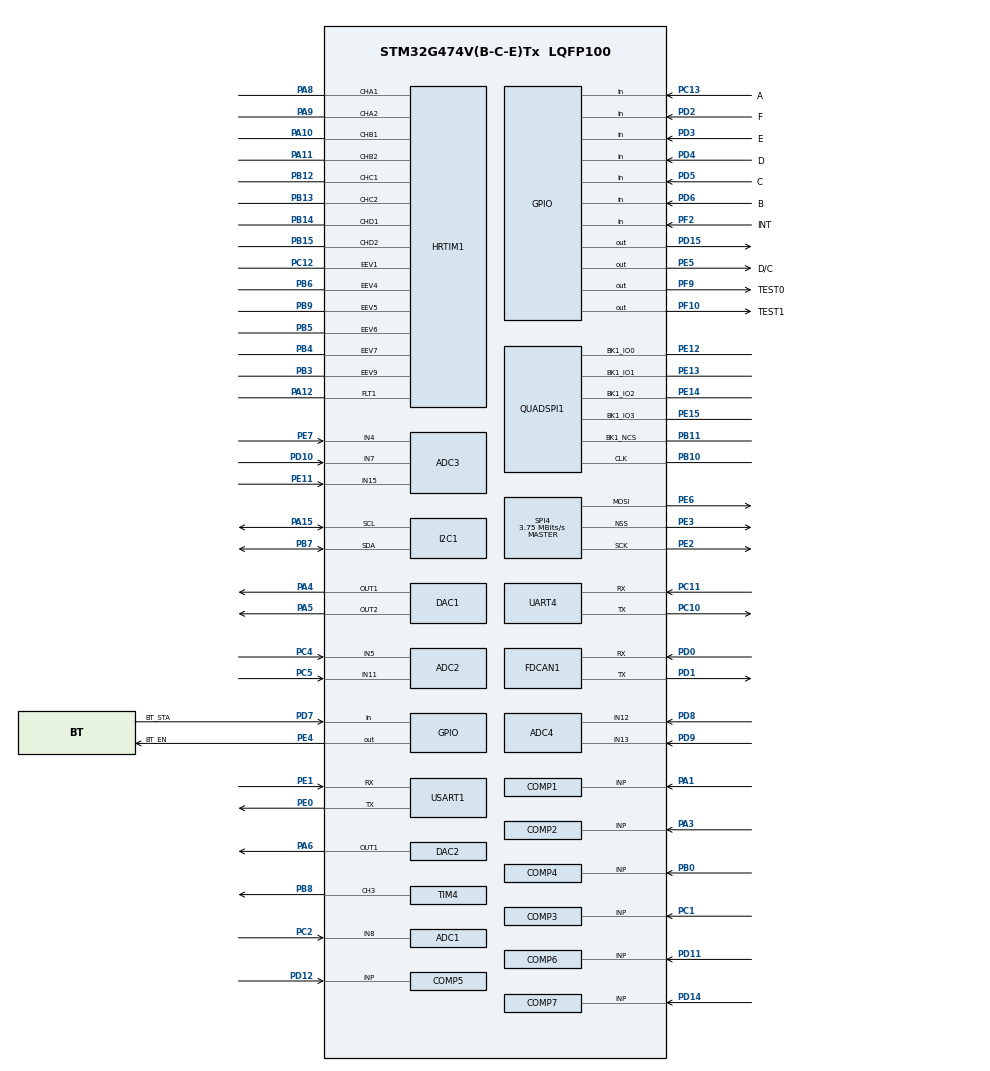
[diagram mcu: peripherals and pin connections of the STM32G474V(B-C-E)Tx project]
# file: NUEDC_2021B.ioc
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ADC1.Channel-0\#ChannelRegularConversion=ADC_CHANNEL_8
ADC1.Channel-1\#ChannelRegularConversion=ADC_CHANNEL_7
ADC1.ClockPrescaler=ADC_CLOCK_ASYNC_DIV2
ADC1.DMAContinuousRequests=ENABLE
ADC1.ExternalTrigConv=ADC_EXTERNALTRIG_HRTIM_TRG1
ADC1.NbrOfConversion=2
ADC1.NbrOfConversionFlag=1
ADC1.OffsetNumber-0\#ChannelRegularConversion=ADC_OFFSET_NONE
ADC1.OffsetNumber-1\#ChannelRegularConversion=ADC_OFFSET_NONE
ADC1.Rank-0\#ChannelRegularConversion=1
ADC1.Rank-1\#ChannelRegularConversion=2
ADC1.SamplingTime-0\#ChannelRegularConversion=ADC_SAMPLETIME_12CYCLES_5
ADC1.SamplingTime-1\#ChannelRegularConversion=ADC_SAMPLETIME_12CYCLES_5
ADC1.master=1
ADC2.Channel-0\#ChannelRegularConversion=ADC_CHANNEL_2
ADC2.Channel-1\#ChannelRegularConversion=ADC_CHANNEL_11
ADC2.Channel-2\#ChannelRegularConversion=ADC_CHANNEL_5
ADC2.ClockPrescaler=ADC_CLOCK_ASYNC_DIV2
ADC2.DMAContinuousRequests=ENABLE
ADC2.ExternalTrigConv=ADC_EXTERNALTRIG_HRTIM_TRG5
ADC2.NbrOfConversion=3
ADC2.NbrOfConversionFlag=1
ADC2.OffsetNumber-0\#ChannelRegularConversion=ADC_OFFSET_NONE
ADC2.OffsetNumber-1\#ChannelRegularConversion=ADC_OFFSET_NONE
ADC2.OffsetNumber-2\#ChannelRegularConversion=ADC_OFFSET_NONE
ADC2.Rank-0\#ChannelRegularConversion=1
ADC2.Rank-1\#ChannelRegularConversion=2
ADC2.Rank-2\#ChannelRegularConversion=3
ADC2.SamplingTime-0\#ChannelRegularConversion=ADC_SAMPLETIME_12CYCLES_5
ADC2.SamplingTime-1\#ChannelRegularConversion=ADC_SAMPLETIME_12CYCLES_5
ADC2.SamplingTime-2\#ChannelRegularConversion=ADC_SAMPLETIME_12CYCLES_5
ADC3.AWD1HighThreshold=4095
ADC3.AWD1ITMode=ENABLE
ADC3.Channel-0\#ChannelRegularConversion=ADC_CHANNEL_7
ADC3.Channel-1\#ChannelRegularConversion=ADC_CHANNEL_15
ADC3.Channel-2\#ChannelRegularConversion=ADC_CHANNEL_4
ADC3.ClockPrescaler=ADC_CLOCK_ASYNC_DIV2
ADC3.DMAContinuousRequests=ENABLE
ADC3.EnableAnalogWatchDog1=true
ADC3.EnableAnalogWatchDog2=false
ADC3.EnableAnalogWatchDog3=false
ADC3.ExternalTrigConv=ADC_EXTERNALTRIG_HRTIM_TRG3
ADC3.NbrOfConversion=3
ADC3.NbrOfConversionFlag=1
ADC3.OffsetNumber-0\#ChannelRegularConversion=ADC_OFFSET_NONE
ADC3.OffsetNumber-1\#ChannelRegularConversion=ADC_OFFSET_NONE
ADC3.OffsetNumber-2\#ChannelRegularConversion=ADC_OFFSET_NONE
ADC3.Rank-0\#ChannelRegularConversion=1
ADC3.Rank-1\#ChannelRegularConversion=2
ADC3.Rank-2\#ChannelRegularConversion=3
ADC3.SamplingTime-0\#ChannelRegularConversion=ADC_SAMPLETIME_12CYCLES_5
ADC3.SamplingTime-1\#ChannelRegularConversion=ADC_SAMPLETIME_12CYCLES_5
ADC3.SamplingTime-2\#ChannelRegularConversion=ADC_SAMPLETIME_12CYCLES_5
ADC3.WatchdogChannel=ADC_CHANNEL_4
ADC3.master=1
ADC4.Channel-0\#ChannelRegularConversion=ADC_CHANNEL_13
ADC4.Channel-1\#ChannelRegularConversion=ADC_CHANNEL_12
ADC4.ClockPrescaler=ADC_CLOCK_ASYNC_DIV2
ADC4.DMAContinuousRequests=ENABLE
ADC4.ExternalTrigConv=ADC_EXTERNALTRIG_HRTIM_TRG4
ADC4.NbrOfConversion=2
ADC4.NbrOfConversionFlag=1
ADC4.OffsetNumber-0\#ChannelRegularConversion=ADC_OFFSET_NONE
ADC4.OffsetNumber-1\#ChannelRegularConversion=ADC_OFFSET_NONE
ADC4.Rank-0\#ChannelRegularConversion=1
ADC4.Rank-1\#ChannelRegularConversion=2
ADC4.SamplingTime-0\#ChannelRegularConversion=ADC_SAMPLETIME_12CYCLES_5
ADC4.SamplingTime-1\#ChannelRegularConversion=ADC_SAMPLETIME_12CYCLES_5
ADC5.Channel-0\#ChannelRegularConversion=ADC_CHANNEL_TEMPSENSOR_ADC5
ADC5.Channel-1\#ChannelRegularConversion=ADC_CHANNEL_VBAT
ADC5.Channel-2\#ChannelRegularConversion=ADC_CHANNEL_VREFINT
ADC5.ClockPrescaler=ADC_CLOCK_ASYNC_DIV2
ADC5.NbrOfConversion=3
ADC5.NbrOfConversionFlag=1
ADC5.OffsetNumber-0\#ChannelRegularConversion=ADC_OFFSET_NONE
ADC5.OffsetNumber-1\#ChannelRegularConversion=ADC_OFFSET_NONE
ADC5.OffsetNumber-2\#ChannelRegularConversion=ADC_OFFSET_NONE
ADC5.Rank-0\#ChannelRegularConversion=1
ADC5.Rank-1\#ChannelRegularConversion=2
ADC5.Rank-2\#ChannelRegularConversion=3
ADC5.SamplingTime-0\#ChannelRegularConversion=ADC_SAMPLETIME_92CYCLES_5
ADC5.SamplingTime-1\#ChannelRegularConversion=ADC_SAMPLETIME_47CYCLES_5
ADC5.SamplingTime-2\#ChannelRegularConversion=ADC_SAMPLETIME_47CYCLES_5
DAC1.DAC_Channel-DAC_OUT2=DAC_CHANNEL_2
DAC3.DAC_Channel-DAC_OUT2_Int=DAC_CHANNEL_2
DAC4.DAC_Channel-DAC_OUT2_Int=DAC_CHANNEL_2
Dma.ADC1.9.Direction=DMA_PERIPH_TO_MEMORY
Dma.ADC1.9.EventEnable=DISABLE
Dma.ADC1.9.Instance=DMA2_Channel1
Dma.ADC1.9.MemDataAlignment=DMA_MDATAALIGN_HALFWORD
Dma.ADC1.9.MemInc=DMA_MINC_ENABLE
Dma.ADC1.9.Mode=DMA_CIRCULAR
Dma.ADC1.9.PeriphDataAlignment=DMA_PDATAALIGN_HALFWORD
Dma.ADC1.9.PeriphInc=DMA_PINC_DISABLE
Dma.ADC1.9.Polarity=HAL_DMAMUX_REQ_GEN_RISING
Dma.ADC1.9.Priority=DMA_PRIORITY_VERY_HIGH
Dma.ADC1.9.RequestNumber=1
Dma.ADC1.9.SignalID=NONE
Dma.ADC1.9.SyncEnable=DISABLE
Dma.ADC1.9.SyncPolarity=HAL_DMAMUX_SYNC_NO_EVENT
Dma.ADC1.9.SyncRequestNumber=1
Dma.ADC1.9.SyncSignalID=NONE
Dma.ADC2.8.Direction=DMA_PERIPH_TO_MEMORY
Dma.ADC2.8.EventEnable=DISABLE
Dma.ADC2.8.Instance=DMA2_Channel2
Dma.ADC2.8.MemDataAlignment=DMA_MDATAALIGN_HALFWORD
Dma.ADC2.8.MemInc=DMA_MINC_ENABLE
Dma.ADC2.8.Mode=DMA_CIRCULAR
Dma.ADC2.8.PeriphDataAlignment=DMA_PDATAALIGN_HALFWORD
Dma.ADC2.8.PeriphInc=DMA_PINC_DISABLE
Dma.ADC2.8.Polarity=HAL_DMAMUX_REQ_GEN_RISING
Dma.ADC2.8.Priority=DMA_PRIORITY_VERY_HIGH
Dma.ADC2.8.RequestNumber=1
Dma.ADC2.8.SignalID=NONE
Dma.ADC2.8.SyncEnable=DISABLE
Dma.ADC2.8.SyncPolarity=HAL_DMAMUX_SYNC_NO_EVENT
Dma.ADC2.8.SyncRequestNumber=1
Dma.ADC2.8.SyncSignalID=NONE
Dma.ADC3.7.Direction=DMA_PERIPH_TO_MEMORY
Dma.ADC3.7.EventEnable=DISABLE
Dma.ADC3.7.Instance=DMA2_Channel3
Dma.ADC3.7.MemDataAlignment=DMA_MDATAALIGN_HALFWORD
Dma.ADC3.7.MemInc=DMA_MINC_ENABLE
Dma.ADC3.7.Mode=DMA_CIRCULAR
Dma.ADC3.7.PeriphDataAlignment=DMA_PDATAALIGN_HALFWORD
Dma.ADC3.7.PeriphInc=DMA_PINC_DISABLE
Dma.ADC3.7.Polarity=HAL_DMAMUX_REQ_GEN_RISING
Dma.ADC3.7.Priority=DMA_PRIORITY_VERY_HIGH
Dma.ADC3.7.RequestNumber=1
Dma.ADC3.7.SignalID=NONE
Dma.ADC3.7.SyncEnable=DISABLE
Dma.ADC3.7.SyncPolarity=HAL_DMAMUX_SYNC_NO_EVENT
Dma.ADC3.7.SyncRequestNumber=1
Dma.ADC3.7.SyncSignalID=NONE
Dma.ADC4.6.Direction=DMA_PERIPH_TO_MEMORY
Dma.ADC4.6.EventEnable=DISABLE
Dma.ADC4.6.Instance=DMA1_Channel6
Dma.ADC4.6.MemDataAlignment=DMA_MDATAALIGN_HALFWORD
Dma.ADC4.6.MemInc=DMA_MINC_ENABLE
Dma.ADC4.6.Mode=DMA_CIRCULAR
Dma.ADC4.6.PeriphDataAlignment=DMA_PDATAALIGN_HALFWORD
Dma.ADC4.6.PeriphInc=DMA_PINC_DISABLE
Dma.ADC4.6.Polarity=HAL_DMAMUX_REQ_GEN_RISING
Dma.ADC4.6.Priority=DMA_PRIORITY_VERY_HIGH
Dma.ADC4.6.RequestNumber=1
Dma.ADC4.6.SignalID=NONE
Dma.ADC4.6.SyncEnable=DISABLE
Dma.ADC4.6.SyncPolarity=HAL_DMAMUX_SYNC_NO_EVENT
Dma.ADC4.6.SyncRequestNumber=1
Dma.ADC4.6.SyncSignalID=NONE
Dma.ADC5.5.Direction=DMA_PERIPH_TO_MEMORY
Dma.ADC5.5.EventEnable=DISABLE
Dma.ADC5.5.Instance=DMA1_Channel7
Dma.ADC5.5.MemDataAlignment=DMA_MDATAALIGN_HALFWORD
Dma.ADC5.5.MemInc=DMA_MINC_ENABLE
Dma.ADC5.5.Mode=DMA_CIRCULAR
Dma.ADC5.5.PeriphDataAlignment=DMA_PDATAALIGN_HALFWORD
Dma.ADC5.5.PeriphInc=DMA_PINC_DISABLE
Dma.ADC5.5.Polarity=HAL_DMAMUX_REQ_GEN_RISING
Dma.ADC5.5.Priority=DMA_PRIORITY_LOW
Dma.ADC5.5.RequestNumber=1
Dma.ADC5.5.SignalID=NONE
Dma.ADC5.5.SyncEnable=DISABLE
Dma.ADC5.5.SyncPolarity=HAL_DMAMUX_SYNC_NO_EVENT
Dma.ADC5.5.SyncRequestNumber=1
Dma.ADC5.5.SyncSignalID=NONE
Dma.Request0=SPI4_TX
Dma.Request1=USART1_TX
Dma.Request2=USART1_RX
Dma.Request3=UART4_TX
Dma.Request4=UART4_RX
Dma.Request5=ADC5
Dma.Request6=ADC4
Dma.Request7=ADC3
Dma.Request8=ADC2
Dma.Request9=ADC1
Dma.SPI4_TX.0.Direction=DMA_MEMORY_TO_PERIPH
Dma.SPI4_TX.0.EventEnable=DISABLE
Dma.SPI4_TX.0.Instance=DMA1_Channel1
Dma.SPI4_TX.0.MemDataAlignment=DMA_MDATAALIGN_BYTE
Dma.SPI4_TX.0.MemInc=DMA_MINC_ENABLE
Dma.SPI4_TX.0.Mode=DMA_NORMAL
Dma.SPI4_TX.0.PeriphDataAlignment=DMA_PDATAALIGN_BYTE
Dma.SPI4_TX.0.PeriphInc=DMA_PINC_DISABLE
Dma.SPI4_TX.0.Polarity=HAL_DMAMUX_REQ_GEN_RISING
Dma.SPI4_TX.0.Priority=DMA_PRIORITY_LOW
Dma.SPI4_TX.0.RequestNumber=1
Dma.SPI4_TX.0.SignalID=NONE
Dma.SPI4_TX.0.SyncEnable=DISABLE
Dma.SPI4_TX.0.SyncPolarity=HAL_DMAMUX_SYNC_NO_EVENT
Dma.SPI4_TX.0.SyncRequestNumber=1
Dma.SPI4_TX.0.SyncSignalID=NONE
Dma.UART4_RX.4.Direction=DMA_PERIPH_TO_MEMORY
Dma.UART4_RX.4.EventEnable=DISABLE
Dma.UART4_RX.4.Instance=DMA1_Channel5
Dma.UART4_RX.4.MemDataAlignment=DMA_MDATAALIGN_BYTE
Dma.UART4_RX.4.MemInc=DMA_MINC_ENABLE
Dma.UART4_RX.4.Mode=DMA_CIRCULAR
Dma.UART4_RX.4.PeriphDataAlignment=DMA_PDATAALIGN_BYTE
Dma.UART4_RX.4.PeriphInc=DMA_PINC_DISABLE
Dma.UART4_RX.4.Polarity=HAL_DMAMUX_REQ_GEN_RISING
Dma.UART4_RX.4.Priority=DMA_PRIORITY_LOW
Dma.UART4_RX.4.RequestNumber=1
Dma.UART4_RX.4.SignalID=NONE
Dma.UART4_RX.4.SyncEnable=DISABLE
Dma.UART4_RX.4.SyncPolarity=HAL_DMAMUX_SYNC_NO_EVENT
Dma.UART4_RX.4.SyncRequestNumber=1
Dma.UART4_RX.4.SyncSignalID=NONE
Dma.UART4_TX.3.Direction=DMA_MEMORY_TO_PERIPH
Dma.UART4_TX.3.EventEnable=DISABLE
Dma.UART4_TX.3.Instance=DMA1_Channel4
Dma.UART4_TX.3.MemDataAlignment=DMA_MDATAALIGN_BYTE
Dma.UART4_TX.3.MemInc=DMA_MINC_ENABLE
Dma.UART4_TX.3.Mode=DMA_NORMAL
Dma.UART4_TX.3.PeriphDataAlignment=DMA_PDATAALIGN_BYTE
Dma.UART4_TX.3.PeriphInc=DMA_PINC_DISABLE
Dma.UART4_TX.3.Polarity=HAL_DMAMUX_REQ_GEN_RISING
Dma.UART4_TX.3.Priority=DMA_PRIORITY_LOW
Dma.UART4_TX.3.RequestNumber=1
Dma.UART4_TX.3.SignalID=NONE
Dma.UART4_TX.3.SyncEnable=DISABLE
Dma.UART4_TX.3.SyncPolarity=HAL_DMAMUX_SYNC_NO_EVENT
Dma.UART4_TX.3.SyncRequestNumber=1
Dma.UART4_TX.3.SyncSignalID=NONE
Dma.USART1_RX.2.Direction=DMA_PERIPH_TO_MEMORY
Dma.USART1_RX.2.EventEnable=DISABLE
Dma.USART1_RX.2.Instance=DMA1_Channel3
Dma.USART1_RX.2.MemDataAlignment=DMA_MDATAALIGN_BYTE
Dma.USART1_RX.2.MemInc=DMA_MINC_ENABLE
Dma.USART1_RX.2.Mode=DMA_CIRCULAR
Dma.USART1_RX.2.PeriphDataAlignment=DMA_PDATAALIGN_BYTE
Dma.USART1_RX.2.PeriphInc=DMA_PINC_DISABLE
Dma.USART1_RX.2.Polarity=HAL_DMAMUX_REQ_GEN_RISING
Dma.USART1_RX.2.Priority=DMA_PRIORITY_LOW
Dma.USART1_RX.2.RequestNumber=1
Dma.USART1_RX.2.SignalID=NONE
Dma.USART1_RX.2.SyncEnable=DISABLE
Dma.USART1_RX.2.SyncPolarity=HAL_DMAMUX_SYNC_NO_EVENT
Dma.USART1_RX.2.SyncRequestNumber=1
Dma.USART1_RX.2.SyncSignalID=NONE
Dma.USART1_TX.1.Direction=DMA_MEMORY_TO_PERIPH
Dma.USART1_TX.1.EventEnable=DISABLE
Dma.USART1_TX.1.Instance=DMA1_Channel2
Dma.USART1_TX.1.MemDataAlignment=DMA_MDATAALIGN_BYTE
Dma.USART1_TX.1.MemInc=DMA_MINC_ENABLE
Dma.USART1_TX.1.Mode=DMA_NORMAL
Dma.USART1_TX.1.PeriphDataAlignment=DMA_PDATAALIGN_BYTE
Dma.USART1_TX.1.PeriphInc=DMA_PINC_DISABLE
Dma.USART1_TX.1.Polarity=HAL_DMAMUX_REQ_GEN_RISING
Dma.USART1_TX.1.Priority=DMA_PRIORITY_LOW
Dma.USART1_TX.1.RequestNumber=1
Dma.USART1_TX.1.SignalID=NONE
Dma.USART1_TX.1.SyncEnable=DISABLE
Dma.USART1_TX.1.SyncPolarity=HAL_DMAMUX_SYNC_NO_EVENT
Dma.USART1_TX.1.SyncRequestNumber=1
Dma.USART1_TX.1.SyncSignalID=NONE
FDCAN1.CalculateBaudRateNominal=1250000
FDCAN1.CalculateTimeBitNominal=800
FDCAN1.CalculateTimeQuantumNominal=266.6666666666667
FREERTOS.HEAP_NUMBER=1
FREERTOS.Mutexes01=mutex_gspi_,Static,mutex_gspi_handleControlBlock,Available;mutex_i2c_,Static,mutex_i2c_ControlBlock,Available
FREERTOS.Queues01=Beep_Queue,1,uint8_t,0,Static,Beep_QueueBuffer,Beep_QueueControlBlock;Button_Queue,16,uint16_t,0,Static,Button_QueueBuffer,Button_QueueControlBlock;Notification_Queue,16,const char*,0,Static,Notification_QueueBuffer,Notification_QueueControlBlock
FREERTOS.Tasks01=powerdown_Task,48,128,powerdown_task,As weak,NULL,Static,powerdownTaskBuffer,powerdownTaskControlBlock;UI,8,512,UI_Task,As weak,NULL,Static,UI_TaskBuffer,UI_TaskControlBlock;Button,40,96,Button_Task,As weak,NULL,Static,ButtonBuffer,ButtonControlBlock;Beep,8,64,Beep_Task,As weak,NULL,Static,BeepBuffer,BeepControlBlock;Notification,24,128,Notification_Task,As weak,NULL,Static,NotificationBuffer,NotificationControlBlock;AutoRecover,8,64,AutoRecover_Task,As weak,NULL,Static,AutoRecoverBuffer,AutoRecoverControlBlock;Update,8,256,ADC_Task,As weak,NULL,Static,UpdateBuffer,UpdateControlBlock
FREERTOS.configENABLE_FPU=1
FREERTOS.configMINIMAL_STACK_SIZE=64
FREERTOS.configTIMER_TASK_STACK_DEPTH=128
FREERTOS.configTOTAL_HEAP_SIZE=512
FREERTOS.configUSE_IDLE_HOOK=1
HRTIM1.ADCTrigger1_Source1=HRTIM_ADCTRIGGEREVENT13_TIMERD_CMP3
HRTIM1.ADCTrigger3_Source1=HRTIM_ADCTRIGGEREVENT13_TIMERB_CMP3
HRTIM1.ADCTrigger4_Source1=HRTIM_ADCTRIGGEREVENT24_TIMERA_CMP4
HRTIM1.ADCTrigger_Id1=HRTIM_ADCTRIGGER_1
HRTIM1.ADCTrigger_Id2=__NULL
HRTIM1.ADCTrigger_Id3=HRTIM_ADCTRIGGER_3
HRTIM1.ADCTrigger_Id4=HRTIM_ADCTRIGGER_4
HRTIM1.ADCTrigger_Id5=HRTIM_ADCTRIGGER_5
HRTIM1.Adrom_TA=HRTIM_TIM_ADROM_CREST
HRTIM1.Adrom_TB=HRTIM_TIM_ADROM_CREST
HRTIM1.Adrom_TC=HRTIM_TIM_ADROM_CREST
HRTIM1.Adrom_TD=HRTIM_TIM_ADROM_CREST
HRTIM1.BlankingSourceFaultLine1=HRTIM_FAULTBLANKINGMODE_RSTALIGNED
HRTIM1.CompareUnit1-MasterTimer=HRTIM_COMPAREUNIT_1
HRTIM1.CompareUnit1-Output_TA1TA2=HRTIM_COMPAREUNIT_1
HRTIM1.CompareUnit1-Output_TB1TB2=HRTIM_COMPAREUNIT_1
HRTIM1.CompareUnit1-Output_TC1TC2=HRTIM_COMPAREUNIT_1
HRTIM1.CompareUnit1-Output_TD1TD2=HRTIM_COMPAREUNIT_1
HRTIM1.CompareUnit2-MasterTimer=HRTIM_COMPAREUNIT_2
HRTIM1.CompareUnit2-Output_TD1TD2=__NULL
HRTIM1.CompareUnit3-Output_TA1TA2=__NULL
HRTIM1.CompareUnit3-Output_TB1TB2=HRTIM_COMPAREUNIT_3
HRTIM1.CompareUnit3-Output_TC1TC2=__NULL
HRTIM1.CompareUnit3-Output_TD1TD2=HRTIM_COMPAREUNIT_3
HRTIM1.CompareUnit4-Output_TA1TA2=HRTIM_COMPAREUNIT_4
HRTIM1.CompareUnit4-Output_TC1TC2=HRTIM_COMPAREUNIT_4
HRTIM1.CompareValue1-MasterTimer=INITIAL_HRTIM_PERIOD/2
HRTIM1.CompareValue1-Output_TA1TA2=INITIAL_HRTIM_PERIOD/4
HRTIM1.CompareValue1-Output_TB1TB2=INITIAL_HRTIM_PERIOD/4
HRTIM1.CompareValue1-Output_TC1TC2=INITIAL_HRTIM_PERIOD/4
HRTIM1.CompareValue1-Output_TD1TD2=INITIAL_HRTIM_PERIOD/4
HRTIM1.CompareValue2-MasterTimer=INITIAL_HRTIM_PERIOD/2
HRTIM1.CompareValue3-Output_TB1TB2=100
HRTIM1.CompareValue3-Output_TD1TD2=100
HRTIM1.CompareValue4-Output_TA1TA2=100
HRTIM1.CompareValue4-Output_TC1TC2=100
HRTIM1.DeadTimeInsertion-Output_TA1TA2=HRTIM_TIMDEADTIMEINSERTION_ENABLED
HRTIM1.DeadTimeInsertion-Output_TB1TB2=HRTIM_TIMDEADTIMEINSERTION_ENABLED
HRTIM1.DeadTimeInsertion-Output_TC1TC2=HRTIM_TIMDEADTIMEINSERTION_ENABLED
HRTIM1.DeadTimeInsertion-Output_TD1TD2=HRTIM_TIMDEADTIMEINSERTION_ENABLED
HRTIM1.EventEnableA-Output_TC1TC2=__NULL
HRTIM1.FallingSignLock-Output_TA1TA2=HRTIM_TIMDEADTIME_FALLINGSIGNLOCK_READONLY
HRTIM1.FallingSignLock-Output_TB1TB2=HRTIM_TIMDEADTIME_FALLINGSIGNLOCK_READONLY
HRTIM1.FallingSignLock-Output_TC1TC2=HRTIM_TIMDEADTIME_FALLINGSIGNLOCK_READONLY
HRTIM1.FallingSignLock-Output_TD1TD2=HRTIM_TIMDEADTIME_FALLINGSIGNLOCK_READONLY
HRTIM1.FallingValue-Output_TA1TA2=INITIAL_HRTIM_DEADTIME
HRTIM1.FallingValue-Output_TB1TB2=INITIAL_HRTIM_DEADTIME
HRTIM1.FallingValue-Output_TC1TC2=INITIAL_HRTIM_DEADTIME
HRTIM1.FallingValue-Output_TD1TD2=INITIAL_HRTIM_DEADTIME
HRTIM1.FaultEnable_Source1-Output_TD1TD2=HRTIM_TIMFAULTENABLE_FAULT1
HRTIM1.FaultLevel1-Output_TD1TD2=HRTIM_OUTPUTFAULTLEVEL_INACTIVE
HRTIM1.FaultLevel2-Output_TD1TD2=HRTIM_OUTPUTFAULTLEVEL_INACTIVE
HRTIM1.GreaterCMP1_TA=HRTIM_TIMERGTCMP1_GREATER
HRTIM1.GreaterCMP1_TB=HRTIM_TIMERGTCMP1_GREATER
HRTIM1.GreaterCMP1_TC=HRTIM_TIMERGTCMP1_GREATER
HRTIM1.GreaterCMP1_TD=HRTIM_TIMERGTCMP1_GREATER
HRTIM1.HRTIMInterruptResquests1=HRTIM_IT_FLT1
HRTIM1.HRTIMInterruptResquests2=HRTIM_IT_NONE
HRTIM1.NumberADCTriggerSource1=1
HRTIM1.NumberADCTriggerSource3=1
HRTIM1.NumberADCTriggerSource4=1
HRTIM1.NumberFaultEnable-Output_TD1TD2=1
HRTIM1.NumberInterruptRequests-Output_TD1TD2=0
HRTIM1.NumberResetSource1-Output_TA1TA2=1
HRTIM1.NumberResetSource1-Output_TB1TB2=1
HRTIM1.NumberResetSource1-Output_TC1TC2=1
HRTIM1.NumberResetSource1-Output_TD1TD2=1
HRTIM1.NumberResetTrigger-Output_TA1TA2=1
HRTIM1.NumberResetTrigger-Output_TB1TB2=1
HRTIM1.NumberResetTrigger-Output_TC1TC2=1
HRTIM1.NumberResetTrigger-Output_TD1TD2=1
HRTIM1.NumberSetSource1-Output_TA1TA2=1
HRTIM1.NumberSetSource1-Output_TB1TB2=1
HRTIM1.NumberSetSource1-Output_TC1TC2=1
HRTIM1.NumberSetSource1-Output_TD1TD2=1
HRTIM1.ORingUpdateSource_ADCTrigger1=HRTIM_ADCTRIGGERUPDATE_TIMER_D
HRTIM1.ORingUpdateSource_ADCTrigger3=HRTIM_ADCTRIGGERUPDATE_TIMER_B
HRTIM1.ORingUpdateSource_ADCTrigger4=HRTIM_ADCTRIGGERUPDATE_TIMER_A
HRTIM1.ORingUpdateSource_ADCTrigger5=HRTIM_ADCTRIGGERUPDATE_TIMER_C
HRTIM1.Outrom_TA=HRTIM_TIM_OUTROM_BOTH
HRTIM1.Outrom_TB=HRTIM_TIM_OUTROM_BOTH
HRTIM1.Outrom_TC=HRTIM_TIM_OUTROM_BOTH
HRTIM1.Outrom_TD=HRTIM_TIM_OUTROM_BOTH
HRTIM1.Periode_MASTER=INITIAL_HRTIM_PERIOD
HRTIM1.Periode_TA=INITIAL_HRTIM_PERIOD
HRTIM1.Periode_TB=INITIAL_HRTIM_PERIOD
HRTIM1.Periode_TC=INITIAL_HRTIM_PERIOD
HRTIM1.Periode_TD=INITIAL_HRTIM_PERIOD
HRTIM1.Polarity_FaultLine1=HRTIM_FAULTPOLARITY_LOW
HRTIM1.PrescalerRatio_MASTER=HRTIM_PRESCALERRATIO_MUL8
HRTIM1.PrescalerRatio_TA=HRTIM_PRESCALERRATIO_MUL16
HRTIM1.PrescalerRatio_TB=HRTIM_PRESCALERRATIO_MUL16
HRTIM1.PrescalerRatio_TC=HRTIM_PRESCALERRATIO_MUL16
HRTIM1.PrescalerRatio_TD=HRTIM_PRESCALERRATIO_MUL16
HRTIM1.ResetTrigger1-Output_TA1TA2=HRTIM_TIMRESETTRIGGER_MASTER_CMP1
HRTIM1.ResetTrigger1-Output_TB1TB2=HRTIM_TIMRESETTRIGGER_MASTER_CMP1
HRTIM1.ResetTrigger1-Output_TC1TC2=HRTIM_TIMRESETTRIGGER_MASTER_CMP1
HRTIM1.ResetTrigger1-Output_TD1TD2=HRTIM_TIMRESETTRIGGER_MASTER_CMP2
HRTIM1.RisingSign-Output_TD1TD2=HRTIM_TIMDEADTIME_RISINGSIGN_POSITIVE
HRTIM1.RisingSignLock-Output_TA1TA2=HRTIM_TIMDEADTIME_RISINGSIGNLOCK_READONLY
HRTIM1.RisingSignLock-Output_TB1TB2=HRTIM_TIMDEADTIME_RISINGSIGNLOCK_READONLY
HRTIM1.RisingSignLock-Output_TC1TC2=HRTIM_TIMDEADTIME_RISINGSIGNLOCK_READONLY
HRTIM1.RisingSignLock-Output_TD1TD2=HRTIM_TIMDEADTIME_RISINGSIGNLOCK_READONLY
HRTIM1.RisingValue-Output_TA1TA2=INITIAL_HRTIM_DEADTIME
HRTIM1.RisingValue-Output_TB1TB2=INITIAL_HRTIM_DEADTIME
HRTIM1.RisingValue-Output_TC1TC2=INITIAL_HRTIM_DEADTIME
HRTIM1.RisingValue-Output_TD1TD2=INITIAL_HRTIM_DEADTIME
HRTIM1.SetOutput1_Source1-Output_TA1TA2=HRTIM_OUTPUTSET_TIMCMP1
HRTIM1.SetOutput1_Source1-Output_TB1TB2=HRTIM_OUTPUTSET_TIMCMP1
HRTIM1.SetOutput1_Source1-Output_TC1TC2=HRTIM_OUTPUTSET_TIMCMP1
HRTIM1.SetOutput1_Source1-Output_TD1TD2=HRTIM_OUTPUTSET_TIMCMP1
HRTIM1.Source_ADCTrigger5=HRTIM_ADCTRIGGEREVENT579_TIMERC_CMP4
HRTIM1.SyncOptions=HRTIM_SYNCOPTION_NONE
HRTIM1.UpDownMode-Output_TA1TA2=HRTIM_TIMERUPDOWNMODE_UPDOWN
HRTIM1.UpDownMode-Output_TB1TB2=HRTIM_TIMERUPDOWNMODE_UPDOWN
HRTIM1.UpDownMode-Output_TC1TC2=HRTIM_TIMERUPDOWNMODE_UPDOWN
HRTIM1.UpDownMode-Output_TD1TD2=HRTIM_TIMERUPDOWNMODE_UPDOWN
HRTIM1.rom_TA=HRTIM_TIM_ROM_VALLEY
HRTIM1.rom_TB=HRTIM_TIM_ROM_VALLEY
HRTIM1.rom_TC=HRTIM_TIM_ROM_VALLEY
HRTIM1.rom_TD=HRTIM_TIM_ROM_VALLEY
I2C1.Timing=0x10A077A8
Mcu.Family=STM32G4
Mcu.Name=STM32G474V(B-C-E)Tx
Mcu.Package=LQFP100
Mcu.UserConstants=INITIAL_HRTIM_DEADTIME,100;INITIAL_HRTIM_PERIOD,32000
NVIC.ADC3_IRQn=true\:0\:0\:false\:false\:true\:false\:true\:true\:true
NVIC.DMA1_Channel1_IRQn=true\:5\:0\:false\:false\:true\:true\:false\:true\:true
NVIC.DMA1_Channel2_IRQn=true\:5\:0\:false\:false\:true\:true\:false\:true\:true
NVIC.DMA1_Channel3_IRQn=true\:5\:0\:false\:false\:true\:true\:false\:true\:true
NVIC.DMA1_Channel4_IRQn=true\:5\:0\:false\:false\:true\:true\:false\:true\:true
NVIC.DMA1_Channel5_IRQn=true\:5\:0\:false\:false\:true\:true\:false\:true\:true
NVIC.DMA2_Channel1_IRQn=true\:0\:0\:false\:false\:true\:false\:true\:true\:true
NVIC.HRTIM1_FLT_IRQn=true\:0\:0\:false\:false\:true\:false\:true\:true\:true
NVIC.I2C1_ER_IRQn=true\:5\:0\:false\:false\:true\:true\:true\:true\:true
NVIC.I2C1_EV_IRQn=true\:5\:0\:false\:false\:true\:true\:true\:true\:true
NVIC.PriorityGroup=NVIC_PRIORITYGROUP_4
NVIC.TIM7_DAC_IRQn=true\:15\:0\:false\:false\:true\:false\:false\:true\:true
NVIC.TimeBase=TIM7_DAC_IRQn
NVIC.TimeBaseIP=TIM7
NVIC.UART4_IRQn=true\:5\:0\:false\:false\:true\:true\:true\:true\:true
NVIC.USART1_IRQn=true\:5\:0\:false\:false\:true\:true\:true\:true\:true
PA0.Signal=ADC1_IN1
PA1.Signal=SharedAnalog_PA1
PA10.GPIO_PuPd=GPIO_PULLDOWN
PA10.Mode=Output_TB1TB2
PA10.Signal=HRTIM1_CHB1
PA11.GPIO_PuPd=GPIO_PULLDOWN
PA11.Mode=Output_TB1TB2
PA11.Signal=HRTIM1_CHB2
PA12.GPIO_PuPd=GPIO_PULLUP
PA12.Mode=Fault_Enable1
PA12.Signal=HRTIM1_FLT1
PA13.Mode=Serial_Wire
PA13.Signal=SYS_JTMS-SWDIO
PA14.Mode=Serial_Wire
PA14.Signal=SYS_JTCK-SWCLK
PA15.GPIO_Speed=GPIO_SPEED_FREQ_MEDIUM
PA15.Mode=I2C
PA15.Signal=I2C1_SCL
PA2.Signal=ADC1_IN3
PA3.Signal=SharedAnalog_PA3
PA4.Signal=COMP_DAC11_group
PA5.Signal=COMP_DAC12_group
PA6.Signal=COMP_DAC21_group
PA7.Signal=ADC2_IN4
PA8.GPIO_PuPd=GPIO_PULLDOWN
PA8.Mode=Output_TA1TA2
PA8.Signal=HRTIM1_CHA1
PA9.GPIO_PuPd=GPIO_PULLDOWN
PA9.Mode=Output_TA1TA2
PA9.Signal=HRTIM1_CHA2
PB0.Signal=SharedAnalog_PB0
PB1.Signal=ADC1_IN12
PB10.GPIO_Speed=GPIO_SPEED_FREQ_VERY_HIGH
PB10.Mode=Single Bank 1
PB10.Signal=QUADSPI1_CLK
PB11.GPIO_PuPd=GPIO_PULLUP
PB11.GPIO_Speed=GPIO_SPEED_FREQ_VERY_HIGH
PB11.Mode=Single Bank 1
PB11.Signal=QUADSPI1_BK1_NCS
PB12.GPIO_PuPd=GPIO_PULLDOWN
PB12.Mode=Output_TC1TC2
PB12.Signal=HRTIM1_CHC1
PB13.GPIO_PuPd=GPIO_PULLDOWN
PB13.Mode=Output_TC1TC2
PB13.Signal=HRTIM1_CHC2
PB14.GPIO_PuPd=GPIO_PULLDOWN
PB14.Mode=Output_TD1TD2
PB14.Signal=HRTIM1_CHD1
PB15.GPIO_PuPd=GPIO_PULLDOWN
PB15.Mode=Output_TD1TD2
PB15.Signal=HRTIM1_CHD2
PB2.Signal=ADC2_IN12
PB3.Mode=External_Evt_enable9
PB3.Signal=HRTIM1_EEV9
PB4.Mode=External_Evt_enable7
PB4.Signal=HRTIM1_EEV7
PB5.Mode=External_Evt_enable6
PB5.Signal=HRTIM1_EEV6
PB6.Mode=External_Evt_enable4
PB6.Signal=HRTIM1_EEV4
PB7.GPIO_Speed=GPIO_SPEED_FREQ_MEDIUM
PB7.Mode=I2C
PB7.Signal=I2C1_SDA
PB8-BOOT0.GPIO_PuPd=GPIO_PULLDOWN
PB8-BOOT0.Signal=S_TIM4_CH3
PB9.Mode=External_Evt_enable5
PB9.Signal=HRTIM1_EEV5
PC0.Signal=ADC1_IN6
PC1.Signal=SharedAnalog_PC1
PC10.GPIO_PuPd=GPIO_PULLUP
PC10.GPIO_Speed=GPIO_SPEED_FREQ_MEDIUM
PC10.Mode=Asynchronous
PC10.Signal=UART4_TX
PC11.GPIO_PuPd=GPIO_PULLUP
PC11.GPIO_Speed=GPIO_SPEED_FREQ_LOW
PC11.Mode=Asynchronous
PC11.Signal=UART4_RX
PC12.Mode=External_Evt_enable1
PC12.Signal=HRTIM1_EEV1
PC13.GPIO_Label=A
PC13.GPIO_PuPd=GPIO_PULLUP
PC13.Signal=GPIO_Input
PC14-OSC32_IN.Mode=LSE-External-Oscillator
PC14-OSC32_IN.Signal=RCC_OSC32_IN
PC15-OSC32_OUT.Mode=LSE-External-Oscillator
PC15-OSC32_OUT.Signal=RCC_OSC32_OUT
PC2.Mode=IN8-Single-Ended
PC2.Signal=ADC1_IN8
PC3.Signal=ADC1_IN9
PC4.Mode=IN5-Single-Ended
PC4.Signal=ADC2_IN5
PC5.Mode=IN11-Single-Ended
PC5.Signal=ADC2_IN11
PD0.Mode=FDCAN_Activate
PD0.Signal=FDCAN1_RX
PD1.Mode=FDCAN_Activate
PD1.Signal=FDCAN1_TX
PD10.Mode=IN7-Single-Ended
PD10.Signal=ADC3_IN7
PD11.Signal=SharedAnalog_PD11
PD12.Signal=SharedAnalog_PD12
PD13.Signal=ADC4_IN10
PD14.Signal=SharedAnalog_PD14
PD15.Signal=GPIO_Output
PD2.GPIO_Label=F
PD2.GPIO_PuPd=GPIO_PULLUP
PD2.Signal=GPIO_Input
PD3.GPIO_Label=E
PD3.GPIO_PuPd=GPIO_PULLUP
PD3.Signal=GPIO_Input
PD4.GPIO_Label=D
PD4.GPIO_PuPd=GPIO_PULLUP
PD4.Signal=GPIO_Input
PD5.GPIO_Label=C
PD5.GPIO_PuPd=GPIO_PULLUP
PD5.Signal=GPIO_Input
PD6.GPIO_Label=B
PD6.GPIO_PuPd=GPIO_PULLUP
PD6.Signal=GPIO_Input
PD7.GPIO_Label=BT_STA
PD7.Signal=GPIO_Input
PD8.Mode=IN12-Single-Ended
PD8.Signal=ADC4_IN12
PD9.Mode=IN13-Single-Ended
PD9.Signal=ADC4_IN13
PE0.GPIO_PuPd=GPIO_PULLUP
PE0.GPIO_Speed=GPIO_SPEED_FREQ_MEDIUM
PE0.Mode=Asynchronous
PE0.Signal=USART1_TX
PE1.GPIO_PuPd=GPIO_PULLUP
PE1.Mode=Asynchronous
PE1.Signal=USART1_RX
PE10.Signal=ADC3_IN14
PE11.Mode=IN15-Single-Ended
PE11.Signal=ADC3_IN15
PE12.GPIO_Speed=GPIO_SPEED_FREQ_VERY_HIGH
PE12.Mode=Single Bank 1
PE12.Signal=QUADSPI1_BK1_IO0
PE13.GPIO_Speed=GPIO_SPEED_FREQ_VERY_HIGH
PE13.Mode=Single Bank 1
PE13.Signal=QUADSPI1_BK1_IO1
PE14.GPIO_PuPd=GPIO_PULLUP
PE14.GPIO_Speed=GPIO_SPEED_FREQ_VERY_HIGH
PE14.Mode=Single Bank 1
PE14.Signal=QUADSPI1_BK1_IO2
PE15.GPIO_PuPd=GPIO_PULLUP
PE15.GPIO_Speed=GPIO_SPEED_FREQ_VERY_HIGH
PE15.Mode=Single Bank 1
PE15.Signal=QUADSPI1_BK1_IO3
PE2.GPIO_Speed=GPIO_SPEED_FREQ_VERY_HIGH
PE2.Mode=TX_Only_Simplex_Unidirect_Master
PE2.Signal=SPI4_SCK
PE3.GPIO_Speed=GPIO_SPEED_FREQ_HIGH
PE3.Mode=NSS_Signal_Hard_Output
PE3.Signal=SPI4_NSS
PE4.GPIO_Label=BT_EN
PE4.Signal=GPIO_Output
PE5.GPIO_Label=D/C
PE5.Signal=GPIO_Output
PE6.GPIO_Speed=GPIO_SPEED_FREQ_VERY_HIGH
PE6.Mode=TX_Only_Simplex_Unidirect_Master
PE6.Signal=SPI4_MOSI
PE7.Mode=IN4-Single-Ended
PE7.Signal=ADC3_IN4
PE8.Signal=TIM1_CH1N
PE9.Signal=S_TIM1_CH1
PF0-OSC_IN.Mode=HSE-External-Oscillator
PF0-OSC_IN.Signal=RCC_OSC_IN
PF1-OSC_OUT.Mode=HSE-External-Oscillator
PF1-OSC_OUT.Signal=RCC_OSC_OUT
PF10.GPIO_Label=TEST1
PF10.Signal=GPIO_Output
PF2.GPIO_Label=INT
PF2.GPIO_PuPd=GPIO_PULLUP
PF2.Signal=GPIO_Input
PF9.GPIO_Label=TEST0
PF9.Signal=GPIO_Output
ProjectManager.HeapSize=0x000
ProjectManager.StackSize=0x1000
ProjectManager.TargetToolchain=MDK-ARM V5.32
RCC.ADC12CLockSelection=RCC_ADC12CLKSOURCE_PLL
RCC.ADC12Freq_Value=60000000
RCC.ADC345CLockSelection=RCC_ADC345CLKSOURCE_PLL
RCC.ADC345Freq_Value=60000000
RCC.AHBFreq_Value=120000000
RCC.APB1CLKDivider=RCC_HCLK_DIV2
RCC.APB1Freq_Value=60000000
RCC.APB1TimFreq_Value=120000000
RCC.APB2CLKDivider=RCC_HCLK_DIV2
RCC.APB2Freq_Value=60000000
RCC.APB2TimFreq_Value=120000000
RCC.CortexFreq_Value=120000000
RCC.EXTERNAL_CLOCK_VALUE=12288000
RCC.HCLKFreq_Value=120000000
RCC.HSE_VALUE=12000000
RCC.HSI48_VALUE=48000000
RCC.HSI_VALUE=16000000
RCC.LSE_Drive_Capability=RCC_LSEDRIVE_MEDIUMLOW
RCC.PLLN=20
RCC.PLLP=RCC_PLLP_DIV4
RCC.PLLSourceVirtual=RCC_PLLSOURCE_HSE
RCC.PREFETCH_ENABLE=1
RCC.PWR_Regulator_Voltage_Scale=PWR_REGULATOR_VOLTAGE_SCALE1_BOOST
RCC.RTCClockSelection=RCC_RTCCLKSOURCE_LSE
RCC.SYSCLKFreq_VALUE=120000000
RCC.SYSCLKSource=RCC_SYSCLKSOURCE_PLLCLK
RCC.USBFreq_Value=120000000
RCC.VCOOutputFreq_Value=240000000
RCC.VDD_VALUE=2.5
RTC.Date=28
RTC.Format=RTC_FORMAT_BIN
RTC.Hours=11
RTC.Minutes=45
RTC.Month=RTC_MONTH_MAY
RTC.Seconds=14
RTC.WeekDay=RTC_WEEKDAY_FRIDAY
RTC.Year=26
SH.COMP_DAC11_group.0=DAC1_OUT1,DAC_OUT1
SH.COMP_DAC12_group.0=DAC1_OUT2,DAC_OUT2
SH.COMP_DAC21_group.0=DAC2_OUT1,DAC_OUT1
SH.S_TIM1_CH1.0=TIM1_CH1
SH.S_TIM4_CH3.0=TIM4_CH3,PWM Generation3 CH3
SH.SharedAnalog_PA1.0=COMP1_INP,INP
SH.SharedAnalog_PA1.1=ADC2_IN2,IN2-Single-Ended
SH.SharedAnalog_PA3.0=ADC1_IN4
SH.SharedAnalog_PA3.1=COMP2_INP,INP
SH.SharedAnalog_PB0.0=ADC3_IN12
SH.SharedAnalog_PB0.1=COMP4_INP,INP
SH.SharedAnalog_PC1.0=COMP3_INP,INP
SH.SharedAnalog_PC1.1=ADC1_IN7,IN7-Single-Ended
SH.SharedAnalog_PD11.0=ADC4_IN8
SH.SharedAnalog_PD11.1=COMP6_INP,INP
SH.SharedAnalog_PD12.0=ADC4_IN9
SH.SharedAnalog_PD12.1=COMP5_INP,INP
SH.SharedAnalog_PD14.0=ADC4_IN11
SH.SharedAnalog_PD14.1=COMP7_INP,INP
SPI4.BaudRatePrescaler=SPI_BAUDRATEPRESCALER_16
SPI4.CalculateBaudRate=3.75 MBits/s
SPI4.DataSize=SPI_DATASIZE_8BIT
SPI4.Direction=SPI_DIRECTION_2LINES
SPI4.Mode=SPI_MODE_MASTER
SPI4.VirtualNSS=VM_NSSHARD
SPI4.VirtualType=VM_MASTER
TIM4.Channel-PWM\ Generation3\ CH3=TIM_CHANNEL_3
TIM4.PeriodNoDither=255
TIM4.Prescaler=938
USART1.VirtualMode-Asynchronous=VM_ASYNC
VP_ADC5_TempSens_Input.Mode=IN-TempSens
VP_ADC5_Vbat_Input.Mode=IN-Vbat
VP_ADC5_Vref_Input.Mode=IN-Vrefint
VP_COMP1_VS_DAC3OUT1.Mode=INM_DAC3OUT1
VP_COMP2_VS_DAC3OUT2.Mode=INM_DAC3OUT2
VP_COMP3_VS_DAC3OUT1.Mode=INM_DAC3OUT1
VP_COMP4_VS_DAC3OUT2.Mode=INM_DAC3OUT2
VP_COMP5_VS_DAC4OUT1.Mode=INM_DAC4OUT1
VP_COMP6_VS_DAC4OUT2.Mode=INM_DAC4OUT2
VP_COMP7_VS_DAC4OUT1.Mode=INM_DAC4OUT1
VP_CORDIC_VS_CORDIC.Mode=CORDIC_Activate
VP_DAC3_VS_DACI1.Mode=DAC_OUT1_Int
VP_DAC3_VS_DACI2.Mode=DAC_OUT2_Int
VP_DAC4_VS_DACI1.Mode=DAC_OUT1_Int
VP_DAC4_VS_DACI2.Mode=DAC_OUT2_Int
VP_FMAC_VS_FMAC.Mode=FMAC_Activate
VP_FREERTOS_VS_CMSIS_V2.Mode=CMSIS_V2
VP_HRTIM1_VS_hrtimMasterTimerNoOutput.Mode=MasterTimer
VP_RTC_VS_RTC_Activate.Mode=RTC_Enabled
VP_RTC_VS_RTC_Calendar.Mode=RTC_Calendar
VP_SYS_VS_DBSignals.Mode=DisableDeadBatterySignals
VP_SYS_VS_tim7.Mode=TIM7
VP_SYS_V_VREFBUF.Mode=ExternalMode
board=custom

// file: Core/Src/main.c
/* USER CODE BEGIN Header */
/**
  ******************************************************************************
  * @file           : main.c
  * @brief          : Main program body
  ******************************************************************************
  * @attention
  *
  * Copyright (c) 2026 STMicroelectronics.
  * All rights reserved.
  *
  * This software is licensed under terms that can be found in the LICENSE file
  * in the root directory of this software component.
  * If no LICENSE file comes with this software, it is provided AS-IS.
  *
  ******************************************************************************
  */
/* USER CODE END Header */
#include "main.h"
#include "cmsis_os.h"
#include "adc.h"
#include "comp.h"
#include "cordic.h"
#include "dac.h"
#include "dma.h"
#include "fdcan.h"
#include "fmac.h"
#include "hrtim.h"
#include "i2c.h"
#include "quadspi.h"
#include "rtc.h"
#include "spi.h"
#include "tim.h"
#include "usart.h"
#include "gpio.h"

/* USER CODE BEGIN PV */
//SRAM2常量池
RAMRO const float INV_3_F32 = 0.3333333433f;  // 1/3
RAMRO const float INV_5_F32 = 0.2000000000f;  // 1/5
RAMRO const float INV_6_F32 = 0.1666666716f;  // 1/6

RAMRO const float SQRT2_F32     = 1.41421356237f;
RAMRO const float SQRT3_F32     = 1.73205080757f;
RAMRO const float SQRT6_F32     = 2.44948974278f;

RAMRO const float INV_SQRT2_F32 = 0.70710678118f;
RAMRO const float INV_SQRT3_F32 = 0.57735026919f;
RAMRO const float INV_SQRT6_F32 = 0.40824829046f;
/* USER CODE END PV */

void SystemClock_Config(void);
void MX_FREERTOS_Init(void);

/* USER CODE BEGIN 0 */
/*******************修复因为VBAT掉电导致LSE无法启动的问题**********************/
void RTC_Restart_Init(void)
{
    // === 【修正版】强制复位 Backup Domain（彻底解决 Errata 2.2.6）===
    // 只在真正掉电/上电复位时清一次（保留电池供电时的 RTC 时间）
    LL_APB1_GRP1_EnableClock(LL_APB1_GRP1_PERIPH_RTCAPB);

    LL_PWR_EnableBkUpAccess();
    if (HAL_RTCEx_BKUPRead(&hrtc, RTC_BKP_DR0) != MAGIC) {
        LL_RCC_ForceBackupDomainReset();
        LL_RCC_ReleaseBackupDomainReset();
        LL_RCC_ClearResetFlags();
        // 这里故意不写 magic！留给后面 rtc.c 设置时间后再写
    }
}

/***********************移动中断向量表到SRAM以提升速度*************************/
#define VECT_TAB_START  0x10007E00
#define VECT_TAB_SIZE   0x200U
extern uint32_t Load$$ER_IROM1$$Base; // 获取 Flash 中原始向量表地址

void RelocateVectorTable(void) {
    const uint32_t *pSrc  = &Load$$ER_IROM1$$Base;  // Flash 中的向量表起始
    uint32_t *pDest = (uint32_t *)VECT_TAB_START;   // CCM RAM 中的目标位置

    __disable_irq();
    /* 1. 将向量表从 Flash 拷贝到 CCM SRAM */
    for (int i = 0; i < VECT_TAB_SIZE / 4; i++) {
        pDest[i] = pSrc[i];
    }

    /* 2. 更新 VTOR 寄存器，告知 CPU 新的地址 */
    __DSB(); // 数据同步屏障
    SCB->VTOR = VECT_TAB_START;
    __DSB(); // 数据同步屏障
    __ISB();

    __enable_irq();
}

/**************************从120MHz超频至240MHz********************************/
//不影响外设时钟
void STM32G474_OverClock(void)
{
    LL_RCC_HSI_Enable();
    while (LL_RCC_HSI_IsReady() != 1) {}
    LL_RCC_SetSysClkSource(LL_RCC_SYS_CLKSOURCE_HSI);
    while (LL_RCC_GetSysClkSource() != LL_RCC_SYS_CLKSOURCE_STATUS_HSI) {}

    LL_FLASH_SetLatency(LL_FLASH_LATENCY_5);
    while(LL_FLASH_GetLatency() != LL_FLASH_LATENCY_5) { }

    LL_RCC_SetAHBPrescaler(LL_RCC_SYSCLK_DIV_1);
    LL_RCC_SetAPB1Prescaler(LL_RCC_APB1_DIV_4);
    LL_RCC_SetAPB2Prescaler(LL_RCC_APB2_DIV_4);

    LL_RCC_PLL_Disable();
    while (LL_RCC_PLL_IsReady() == 1) {}
    LL_RCC_PLL_ConfigDomain_SYS(LL_RCC_PLLSOURCE_HSE, LL_RCC_PLLM_DIV_1, 40, LL_RCC_PLLR_DIV_2);
    LL_RCC_PLL_ConfigDomain_ADC(LL_RCC_PLLSOURCE_HSE, LL_RCC_PLLM_DIV_1, 40, LL_RCC_PLLP_DIV_8);
    LL_RCC_PLL_EnableDomain_SYS();
    LL_RCC_PLL_Enable();
    while(LL_RCC_PLL_IsReady() != 1){}

    LL_RCC_SetSysClkSource(LL_RCC_SYS_CLKSOURCE_PLL);
    while(LL_RCC_GetSysClkSource() != LL_RCC_SYS_CLKSOURCE_STATUS_PLL){}

    for (__IO uint32_t i = (170 >> 1); i !=0; i--);

    LL_SetSystemCoreClock(240000000);
    if (HAL_InitTick (TICK_INT_PRIORITY) != HAL_OK) Error_Handler();
}
/* USER CODE END 0 */

int main(void)
{

  /* MCU Configuration--------------------------------------------------------*/

  /* Reset of all peripherals, Initializes the Flash interface and the Systick. */
  HAL_Init();

  /* USER CODE BEGIN Init */
    //避免LSE卡住
    RTC_Restart_Init();
  /* USER CODE END Init */

  /* Configure the system clock */
  SystemClock_Config();

  /* USER CODE BEGIN SysInit */
    //配置错误中断重定向
    SCB->SHCSR |= SCB_SHCSR_MEMFAULTENA_Msk;
    SCB->SHCSR |= SCB_SHCSR_BUSFAULTENA_Msk;
    SCB->SHCSR |= SCB_SHCSR_USGFAULTENA_Msk;
    //重定向中断向量表
    RelocateVectorTable();
    //手动超频到240MHz
    //STM32G474_OverClock();
  /* USER CODE END SysInit */

  /* Initialize all configured peripherals */
  MX_GPIO_Init();
  MX_DMA_Init();
  MX_CORDIC_Init();
  MX_FMAC_Init();
  MX_HRTIM1_Init();
  MX_RTC_Init();
  MX_TIM4_Init();
  MX_DAC1_Init();
  MX_DAC2_Init();
  MX_FDCAN1_Init();
  MX_SPI4_Init();
  MX_USART1_UART_Init();
  MX_ADC1_Init();
  MX_ADC2_Init();
  MX_ADC4_Init();
  MX_COMP1_Init();
  MX_COMP2_Init();
  MX_COMP3_Init();
  MX_COMP4_Init();
  MX_COMP5_Init();
  MX_COMP6_Init();
  MX_COMP7_Init();
  MX_DAC3_Init();
  MX_DAC4_Init();
  MX_I2C1_Init();
  MX_QUADSPI1_Init();
  MX_UART4_Init();
  MX_ADC5_Init();
  MX_ADC3_Init();

  /* Init scheduler */
  osKernelInitialize();  /* Call init function for freertos objects (in cmsis_os2.c) */
  MX_FREERTOS_Init();

  /* Start scheduler */
  osKernelStart();

  /* We should never get here as control is now taken by the scheduler */

  /* Infinite loop */
  while (1)
  {

  }
}

void SystemClock_Config(void)
{
  LL_FLASH_SetLatency(LL_FLASH_LATENCY_3);
  while(LL_FLASH_GetLatency() != LL_FLASH_LATENCY_3)
  {
  }
  LL_PWR_EnableRange1BoostMode();
  LL_RCC_HSE_Enable();
   /* Wait till HSE is ready */
  while(LL_RCC_HSE_IsReady() != 1)
  {
  }

  LL_PWR_EnableBkUpAccess();
  LL_RCC_LSE_SetDriveCapability(LL_RCC_LSEDRIVE_MEDIUMLOW);
  LL_RCC_LSE_Enable();
   /* Wait till LSE is ready */
  while(LL_RCC_LSE_IsReady() != 1)
  {
  }

  LL_RCC_PLL_ConfigDomain_SYS(LL_RCC_PLLSOURCE_HSE, LL_RCC_PLLM_DIV_1, 20, LL_RCC_PLLR_DIV_2);
  LL_RCC_PLL_ConfigDomain_ADC(LL_RCC_PLLSOURCE_HSE, LL_RCC_PLLM_DIV_1, 20, LL_RCC_PLLP_DIV_4);
  LL_RCC_PLL_EnableDomain_SYS();
  LL_RCC_PLL_EnableDomain_ADC();
  LL_RCC_PLL_Enable();
   /* Wait till PLL is ready */
  while(LL_RCC_PLL_IsReady() != 1)
  {
  }

  LL_RCC_SetSysClkSource(LL_RCC_SYS_CLKSOURCE_PLL);
  LL_RCC_SetAHBPrescaler(LL_RCC_SYSCLK_DIV_2);
   /* Wait till System clock is ready */
  while(LL_RCC_GetSysClkSource() != LL_RCC_SYS_CLKSOURCE_STATUS_PLL)
  {
  }

  /* Insure 1us transition state at intermediate medium speed clock*/
  for (__IO uint32_t i = (170 >> 1); i !=0; i--);

  /* Set AHB prescaler*/
  LL_RCC_SetAHBPrescaler(LL_RCC_SYSCLK_DIV_1);
  LL_RCC_SetAPB1Prescaler(LL_RCC_APB1_DIV_2);
  LL_RCC_SetAPB2Prescaler(LL_RCC_APB2_DIV_2);
  LL_SetSystemCoreClock(120000000);

   /* Update the time base */
  if (HAL_InitTick (TICK_INT_PRIORITY) != HAL_OK)
  {
    Error_Handler();
  }
}

void HAL_TIM_PeriodElapsedCallback(TIM_HandleTypeDef *htim)
{
  if (htim->Instance == TIM7)
  {
    HAL_IncTick();
  }
}

void Error_Handler(void)
{
  __disable_irq();
  while (1)
  {
  }
}

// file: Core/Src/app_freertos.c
/* USER CODE BEGIN Header */
/**
  ******************************************************************************
  * File Name          : app_freertos.c
  * Description        : Code for freertos applications
  ******************************************************************************
  * @attention
  *
  * Copyright (c) 2026 STMicroelectronics.
  * All rights reserved.
  *
  * This software is licensed under terms that can be found in the LICENSE file
  * in the root directory of this software component.
  * If no LICENSE file comes with this software, it is provided AS-IS.
  *
  ******************************************************************************
  */
/* USER CODE END Header */

#include "FreeRTOS.h"
#include "task.h"
#include "main.h"
#include "cmsis_os.h"

typedef StaticTask_t osStaticThreadDef_t;
typedef StaticQueue_t osStaticMessageQDef_t;
typedef StaticSemaphore_t osStaticMutexDef_t;

/* Definitions for powerdown_Task */
osThreadId_t powerdown_TaskHandle;
uint32_t powerdownTaskBuffer[ 128 ];
osStaticThreadDef_t powerdownTaskControlBlock;
const osThreadAttr_t powerdown_Task_attributes = {
  .name = "powerdown_Task",
  .stack_mem = &powerdownTaskBuffer[0],
  .stack_size = sizeof(powerdownTaskBuffer),
  .cb_mem = &powerdownTaskControlBlock,
  .cb_size = sizeof(powerdownTaskControlBlock),
  .priority = (osPriority_t) osPriorityRealtime,
};
/* Definitions for UI */
osThreadId_t UIHandle;
uint32_t UI_TaskBuffer[ 512 ];
osStaticThreadDef_t UI_TaskControlBlock;
const osThreadAttr_t UI_attributes = {
  .name = "UI",
  .stack_mem = &UI_TaskBuffer[0],
  .stack_size = sizeof(UI_TaskBuffer),
  .cb_mem = &UI_TaskControlBlock,
  .cb_size = sizeof(UI_TaskControlBlock),
  .priority = (osPriority_t) osPriorityLow,
};
/* Definitions for Button */
osThreadId_t ButtonHandle;
uint32_t ButtonBuffer[ 96 ];
osStaticThreadDef_t ButtonControlBlock;
const osThreadAttr_t Button_attributes = {
  .name = "Button",
  .stack_mem = &ButtonBuffer[0],
  .stack_size = sizeof(ButtonBuffer),
  .cb_mem = &ButtonControlBlock,
  .cb_size = sizeof(ButtonControlBlock),
  .priority = (osPriority_t) osPriorityHigh,
};
/* Definitions for Beep */
osThreadId_t BeepHandle;
uint32_t BeepBuffer[ 64 ];
osStaticThreadDef_t BeepControlBlock;
const osThreadAttr_t Beep_attributes = {
  .name = "Beep",
  .stack_mem = &BeepBuffer[0],
  .stack_size = sizeof(BeepBuffer),
  .cb_mem = &BeepControlBlock,
  .cb_size = sizeof(BeepControlBlock),
  .priority = (osPriority_t) osPriorityLow,
};
/* Definitions for Notification */
osThreadId_t NotificationHandle;
uint32_t NotificationBuffer[ 128 ];
osStaticThreadDef_t NotificationControlBlock;
const osThreadAttr_t Notification_attributes = {
  .name = "Notification",
  .stack_mem = &NotificationBuffer[0],
  .stack_size = sizeof(NotificationBuffer),
  .cb_mem = &NotificationControlBlock,
  .cb_size = sizeof(NotificationControlBlock),
  .priority = (osPriority_t) osPriorityNormal,
};
/* Definitions for AutoRecover */
osThreadId_t AutoRecoverHandle;
uint32_t AutoRecoverBuffer[ 64 ];
osStaticThreadDef_t AutoRecoverControlBlock;
const osThreadAttr_t AutoRecover_attributes = {
  .name = "AutoRecover",
  .stack_mem = &AutoRecoverBuffer[0],
  .stack_size = sizeof(AutoRecoverBuffer),
  .cb_mem = &AutoRecoverControlBlock,
  .cb_size = sizeof(AutoRecoverControlBlock),
  .priority = (osPriority_t) osPriorityLow,
};
/* Definitions for Update */
osThreadId_t UpdateHandle;
uint32_t UpdateBuffer[ 256 ];
osStaticThreadDef_t UpdateControlBlock;
const osThreadAttr_t Update_attributes = {
  .name = "Update",
  .stack_mem = &UpdateBuffer[0],
  .stack_size = sizeof(UpdateBuffer),
  .cb_mem = &UpdateControlBlock,
  .cb_size = sizeof(UpdateControlBlock),
  .priority = (osPriority_t) osPriorityLow,
};
/* Definitions for Beep_Queue */
osMessageQueueId_t Beep_QueueHandle;
uint8_t Beep_QueueBuffer[ 1 * sizeof( uint8_t ) ];
osStaticMessageQDef_t Beep_QueueControlBlock;
const osMessageQueueAttr_t Beep_Queue_attributes = {
  .name = "Beep_Queue",
  .cb_mem = &Beep_QueueControlBlock,
  .cb_size = sizeof(Beep_QueueControlBlock),
  .mq_mem = &Beep_QueueBuffer,
  .mq_size = sizeof(Beep_QueueBuffer)
};
/* Definitions for Button_Queue */
osMessageQueueId_t Button_QueueHandle;
uint8_t Button_QueueBuffer[ 16 * sizeof( uint16_t ) ];
osStaticMessageQDef_t Button_QueueControlBlock;
const osMessageQueueAttr_t Button_Queue_attributes = {
  .name = "Button_Queue",
  .cb_mem = &Button_QueueControlBlock,
  .cb_size = sizeof(Button_QueueControlBlock),
  .mq_mem = &Button_QueueBuffer,
  .mq_size = sizeof(Button_QueueBuffer)
};
/* Definitions for Notification_Queue */
osMessageQueueId_t Notification_QueueHandle;
uint8_t Notification_QueueBuffer[ 16 * sizeof( const char* ) ];
osStaticMessageQDef_t Notification_QueueControlBlock;
const osMessageQueueAttr_t Notification_Queue_attributes = {
  .name = "Notification_Queue",
  .cb_mem = &Notification_QueueControlBlock,
  .cb_size = sizeof(Notification_QueueControlBlock),
  .mq_mem = &Notification_QueueBuffer,
  .mq_size = sizeof(Notification_QueueBuffer)
};
/* Definitions for mutex_gspi_ */
osMutexId_t mutex_gspi_Handle;
osStaticMutexDef_t mutex_gspi_handleControlBlock;
const osMutexAttr_t mutex_gspi__attributes = {
  .name = "mutex_gspi_",
  .cb_mem = &mutex_gspi_handleControlBlock,
  .cb_size = sizeof(mutex_gspi_handleControlBlock),
};
/* Definitions for mutex_i2c_ */
osMutexId_t mutex_i2c_Handle;
osStaticMutexDef_t mutex_i2c_ControlBlock;
const osMutexAttr_t mutex_i2c__attributes = {
  .name = "mutex_i2c_",
  .cb_mem = &mutex_i2c_ControlBlock,
  .cb_size = sizeof(mutex_i2c_ControlBlock),
};

void powerdown_task(void *argument);
void UI_Task(void *argument);
void Button_Task(void *argument);
void Beep_Task(void *argument);
void Notification_Task(void *argument);
void AutoRecover_Task(void *argument);
void ADC_Task(void *argument);

void MX_FREERTOS_Init(void); /* (MISRA C 2004 rule 8.1) */

/* Hook prototypes */
void vApplicationIdleHook(void);

/* USER CODE BEGIN 2 */
void vApplicationIdleHook( void )
{
   /* vApplicationIdleHook() will only be called if configUSE_IDLE_HOOK is set
   to 1 in FreeRTOSConfig.h. It will be called on each iteration of the idle
   task. It is essential that code added to this hook function never attempts
   to block in any way (for example, call xQueueReceive() with a block time
   specified, or call vTaskDelay()). If the application makes use of the
   vTaskDelete() API function (as this demo application does) then it is also
   important that vApplicationIdleHook() is permitted to return to its calling
   function, because it is the responsibility of the idle task to clean up
   memory allocated by the kernel to any task that has since been deleted. */
    __WFI();
}
/* USER CODE END 2 */

void MX_FREERTOS_Init(void) {
  /* Create the mutex(es) */
  /* creation of mutex_gspi_ */
  mutex_gspi_Handle = osMutexNew(&mutex_gspi__attributes);

  /* creation of mutex_i2c_ */
  mutex_i2c_Handle = osMutexNew(&mutex_i2c__attributes);

  /* Create the queue(s) */
  /* creation of Beep_Queue */
  Beep_QueueHandle = osMessageQueueNew (1, sizeof(uint8_t), &Beep_Queue_attributes);

  /* creation of Button_Queue */
  Button_QueueHandle = osMessageQueueNew (16, sizeof(uint16_t), &Button_Queue_attributes);

  /* creation of Notification_Queue */
  Notification_QueueHandle = osMessageQueueNew (16, sizeof(const char*), &Notification_Queue_attributes);

  /* Create the thread(s) */
  /* creation of powerdown_Task */
  powerdown_TaskHandle = osThreadNew(powerdown_task, NULL, &powerdown_Task_attributes);

  /* creation of UI */
  UIHandle = osThreadNew(UI_Task, NULL, &UI_attributes);

  /* creation of Button */
  ButtonHandle = osThreadNew(Button_Task, NULL, &Button_attributes);

  /* creation of Beep */
  BeepHandle = osThreadNew(Beep_Task, NULL, &Beep_attributes);

  /* creation of Notification */
  NotificationHandle = osThreadNew(Notification_Task, NULL, &Notification_attributes);

  /* creation of AutoRecover */
  AutoRecoverHandle = osThreadNew(AutoRecover_Task, NULL, &AutoRecover_attributes);

  /* creation of Update */
  UpdateHandle = osThreadNew(ADC_Task, NULL, &Update_attributes);

}

__weak void powerdown_task(void *argument)
{
  for(;;)
  {
    osDelay(1);
  }
}

__weak void UI_Task(void *argument)
{
  for(;;)
  {
    osDelay(1);
  }
}

__weak void Button_Task(void *argument)
{
  for(;;)
  {
    osDelay(1);
  }
}

__weak void Beep_Task(void *argument)
{
  for(;;)
  {
    osDelay(1);
  }
}

__weak void Notification_Task(void *argument)
{
  for(;;)
  {
    osDelay(1);
  }
}

__weak void AutoRecover_Task(void *argument)
{
  for(;;)
  {
    osDelay(1);
  }
}

__weak void ADC_Task(void *argument)
{
  for(;;)
  {
    osDelay(1);
  }
}
